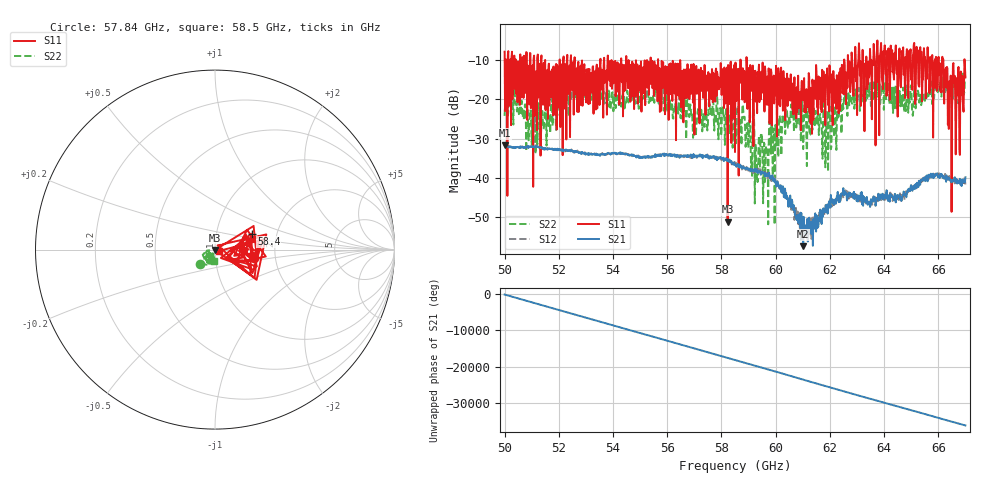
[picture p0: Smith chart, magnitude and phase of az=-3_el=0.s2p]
!Created with skrf (http://scikit-rf.org).
# GHz S RI R 50.0
!freq ReS11 ImS11 ReS21 ImS21 ReS12 ImS12 ReS22 ImS22
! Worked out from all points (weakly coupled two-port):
!   1001 points, 50 GHz to 67 GHz, reference 50 ohm
!   highest |S21| = -31.67 dB at 50 GHz (marker M1); lowest = -57.3 dB at 61.02 GHz (marker M2)
!   lowest |S11| = -51.1 dB at 58.23 GHz (marker M3), VSWR 1.01, Z = 49.9 - j0.263 ohm
!   |S11| at or under -10 dB: 52.59 GHz to 53.53 GHz (948.8 MHz wide, 1.79 % of centre); 55.66 GHz to 58.92 GHz (3.262 GHz wide, 5.69 % of centre); 58.93 GHz to 62.53 GHz (3.6 GHz wide, 5.93 % of centre) (the widest 3 of 64)
!   |S22| runs from -51.9 to -13.4 dB; largest |S21 - S12| = 0.0024
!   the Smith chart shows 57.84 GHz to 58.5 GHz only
!   S11 on the Smith chart (normalised r, x): 57.84 GHz: 1.54, -0.16; 58.4 GHz: 1.48, +0.27; 58.5 GHz: 1.04, -0.02
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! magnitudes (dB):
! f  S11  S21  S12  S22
! 50 GHz  -8.0  -31.7  -31.7  -24.3
! 50.15 GHz  -21.7  -32.3  -32.0  -20.8
! 51.14 GHz  -13.7  -31.9  -32.0  -33.9
! 52.84 GHz  -11.8  -33.8  -33.5  -19.6
! 55.68 GHz  -13.3  -34.1  -34.1  -21.3
! 57.84 GHz  -13.1  -35.5  -35.0  -18.8
! 58.23 GHz  -51.1  -35.2  -35.4  -22.7
! 58.4 GHz  -13.1  -36.3  -36.0  -26.2
! 58.5 GHz  -33.4  -36.7  -37.0  -23.5
! 59.11 GHz  -13.0  -37.7  -38.5  -34.6
! 59.32 GHz  -23.6  -38.1  -38.5  -36.6
! 60.34 GHz  -14.8  -42.7  -43.1  -26.3
! 61.02 GHz  -20.3  -57.3  -54.4  -32.7
! 61.34 GHz  -28.8  -53.0  -55.2  -26.5
! 61.88 GHz  -15.5  -46.8  -48.0  -24.2
! 62.5 GHz  -16.5  -42.6  -45.1  -22.5
! 64.18 GHz  -11.6  -44.4  -45.6  -17.4
! 66.1 GHz  -14.3  -39.4  -39.5  -18.4
! 66.44 GHz  -19.1  -40.3  -40.1  -16.2
! 66.61 GHz  -14.1  -39.8  -41.4  -16.8
! 66.86 GHz  -18.9  -42.0  -40.7  -16.4
! 67 GHz  -14.5  -39.8  -41.6  -14.4
